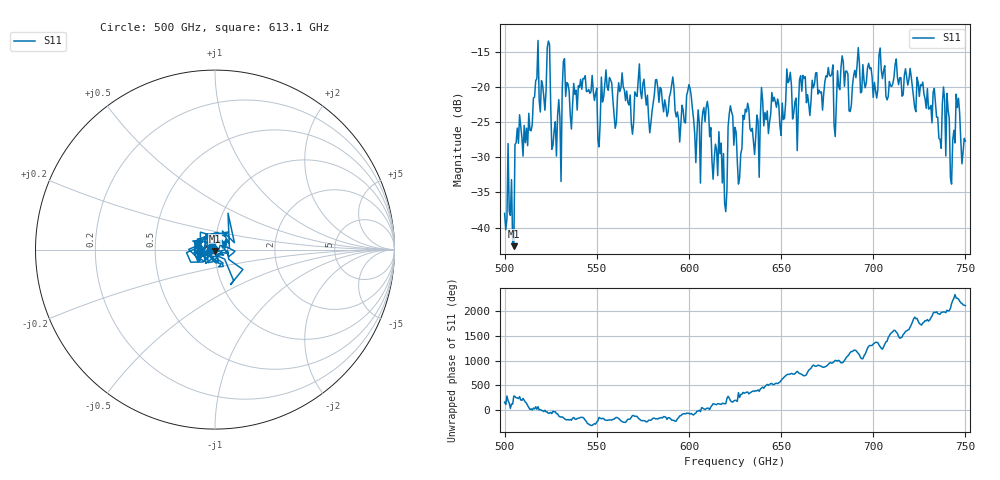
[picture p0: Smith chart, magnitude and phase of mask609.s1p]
!Created with skrf (http://scikit-rf.org).
# GHz S MA R 50.0
!freq magS11 angS11
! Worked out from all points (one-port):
!   401 points, 500 GHz to 750 GHz, reference 50 ohm
!   lowest |S11| = -42.6 dB at 505 GHz (marker M1), VSWR 1.01, Z = 50.2 - j0.712 ohm
!   |S11| at or under -10 dB: start of sweep to end of sweep
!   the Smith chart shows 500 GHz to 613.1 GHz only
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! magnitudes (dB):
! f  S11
! 500 GHz  -38.0
! 505 GHz  -42.6
! 506.9 GHz  -25.8
! 513.8 GHz  -26.1
! 516.9 GHz  -19.1
! 523.8 GHz  -13.4
! 526.9 GHz  -26.2
! 531.2 GHz  -20.4
! 562.5 GHz  -20.6
! 579.4 GHz  -25.1
! 590.6 GHz  -19.7
! 593.8 GHz  -23.5
! 600 GHz  -19.6
! 605 GHz  -23.2
! 609.4 GHz  -22.9
! 619.4 GHz  -36.6
! 622.5 GHz  -22.6
! 625 GHz  -25.7
! 627.5 GHz  -33.0
! 630.6 GHz  -23.1
! 636.9 GHz  -24.0
! 656.2 GHz  -24.5
! 680 GHz  -22.6
! 683.8 GHz  -16.4
! 687.5 GHz  -23.5
! 691.2 GHz  -16.8
! 718.8 GHz  -19.7
! 750 GHz  -27.7
